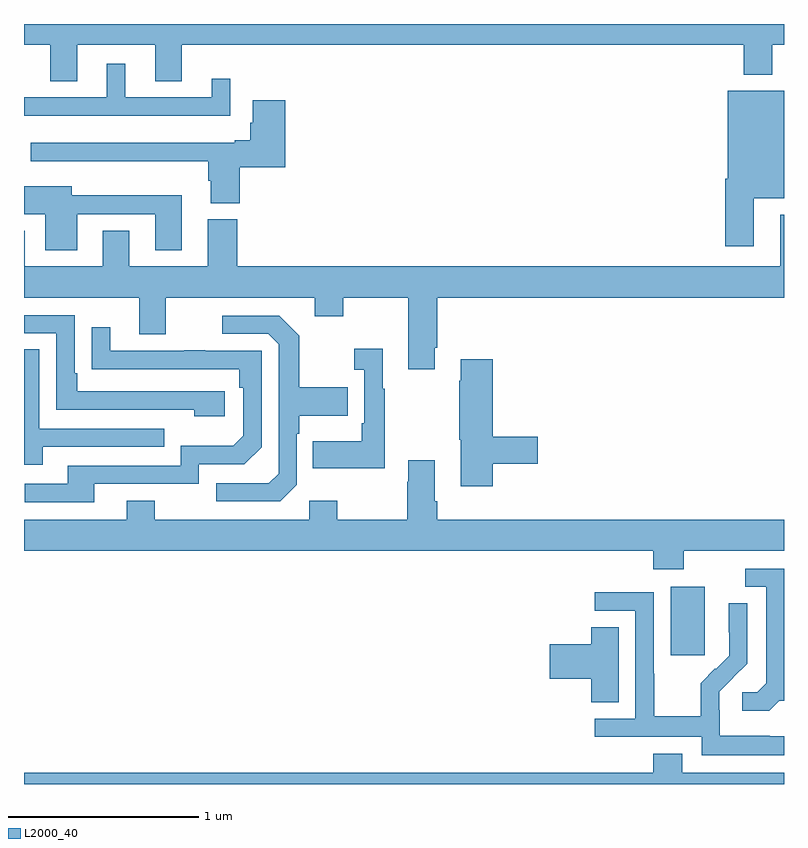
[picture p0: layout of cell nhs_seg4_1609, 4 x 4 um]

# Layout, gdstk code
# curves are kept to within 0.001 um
import gdstk
lib = gdstk.Library(unit=1e-6, precision=1e-09)
def R(c, l, rs):  # rectangles x0, y0, x1, y1
    for r in rs: c.add(gdstk.rectangle(r[:2], r[2:], *l))
def P(c, l, *ps):  # polygons
    for p in ps: c.add(gdstk.Polygon(p, *l))
L2000_40 = (2000, 40)

nhs_seg4_1609 = lib.new_cell('nhs_seg4_1609')
R(nhs_seg4_1609, L2000_40, [(196.403,821.577,196.582,821.938)])
P(nhs_seg4_1609, L2000_40, [(193.279,824.792),(193.691,824.792),(193.691,824.599),(193.831,824.599),(193.831,824.792),(196.787,824.792),(196.787,824.633),(196.939,824.633),(196.939,824.792),(197,824.792),(197,824.9),(193,824.9),(193,824.792),(193.139,824.792),(193.139,824.599),(193.279,824.599)],
  [(194.085,824.611),(193.988,824.611),(193.988,824.514),(193.534,824.514),(193.534,824.692),(193.436,824.692),(193.436,824.514),(193,824.514),(193,824.417),(194.085,824.417)],
  [(196.84,823.982),(197,823.982),(197,824.548),(196.703,824.548),(196.703,824.086),(196.691,824.086),(196.691,823.731),(196.84,823.731)],
  [(194.135,824.147),(194.375,824.147),(194.375,824.5),(194.204,824.5),(194.204,824.379),(194.192,824.379),(194.192,824.288),(194.108,824.288),(194.108,824.275),(193.035,824.275),(193.035,824.177),(193.97,824.177),(193.97,824.075),(193.982,824.075),(193.982,823.957),(194.135,823.957)],
  [(193.279,823.898),(193.691,823.898),(193.691,823.71),(193.831,823.71),(193.831,823.999),(193.252,823.999),(193.252,824.047),(193,824.047),(193,823.898),(193.112,823.898),(193.112,823.71),(193.279,823.71)],
  [(195.163,823.195),(195.176,823.195),(195.176,823.46),(197,823.46),(197,823.897),(196.979,823.897),(196.979,823.624),(194.123,823.624),(194.123,823.872),(193.967,823.872),(193.967,823.624),(193.555,823.624),(193.555,823.813),(193.415,823.813),(193.415,823.624),(193.003,823.624),(193.003,823.813),(193,823.813),(193,823.46),(193.607,823.46),(193.607,823.266),(193.747,823.266),(193.747,823.46),(194.531,823.46),(194.531,823.361),(194.679,823.361),(194.679,823.46),(195.023,823.46),(195.023,823.083),(195.163,823.083)],
  [(194.056,822.966),(193.279,822.966),(193.279,823.063),(193.266,823.063),(193.266,823.368),(193,823.368),(193,823.272),(193.17,823.272),(193.17,822.87),(193.895,822.87),(193.895,822.836),(194.056,822.836)],
  [(194.436,822.474),(194.436,822.743),(194.449,822.743),(194.449,822.839),(194.705,822.839),(194.705,822.987),(194.449,822.987),(194.449,823.259),(194.343,823.365),(194.043,823.365),(194.043,823.269),(194.286,823.269),(194.34,823.215),(194.34,822.534),(194.289,822.483),(194.013,822.483),(194.013,822.387),(194.349,822.387)],
  [(193.369,822.48),(193.92,822.48),(193.92,822.582),(194.16,822.582),(194.25,822.672),(194.25,823.179),(193.955,823.179),(193.955,823.184),(193.843,823.184),(193.843,823.179),(193.453,823.179),(193.453,823.303),(193.357,823.303),(193.357,823.084),(194.134,823.083),(194.134,822.986),(194.154,822.986),(194.154,822.732),(194.101,822.679),(193.824,822.679),(193.824,822.576),(193.229,822.576),(193.229,822.48),(193.005,822.48),(193.005,822.384),(193.369,822.384)],
  [(194.899,822.979),(194.887,822.979),(194.887,823.192),(194.739,823.192),(194.739,823.079),(194.79,823.079),(194.79,822.799),(194.778,822.799),(194.778,822.703),(194.521,822.703),(194.521,822.563),(194.899,822.563)],
  [(193.099,822.675),(193.739,822.675),(193.739,822.771),(193.08,822.771),(193.08,823.187),(193,823.187),(193,822.581),(193.099,822.581)],
  [(195.467,822.586),(195.703,822.586),(195.703,822.728),(195.467,822.728),(195.467,823.135),(195.299,823.135),(195.299,823.022),(195.292,823.022),(195.292,822.711),(195.299,822.711),(195.299,822.468),(195.467,822.468)],
  [(196.473,822.128),(197,822.128),(197,822.292),(195.176,822.292),(195.176,822.388),(195.163,822.388),(195.163,822.604),(195.023,822.604),(195.023,822.491),(195.016,822.491),(195.016,822.292),(194.649,822.292),(194.649,822.391),(194.502,822.391),(194.502,822.292),(193.689,822.292),(193.689,822.391),(193.541,822.391),(193.541,822.292),(193,822.292),(193,822.128),(196.313,822.128),(196.313,822.029),(196.473,822.029)],
  [(196.974,821.337),(197,821.337),(197,822.033),(196.797,822.033),(196.797,821.937),(196.907,821.937),(196.907,821.429),(196.86,821.382),(196.779,821.382),(196.779,821.285),(196.922,821.285)],
  [(197,821.151),(196.925,821.151),(196.925,821.155),(196.662,821.155),(196.662,821.289),(196.66,821.289),(196.66,821.386),(196.806,821.534),(196.806,821.852),(196.71,821.852),(196.71,821.698),(196.712,821.698),(196.712,821.576),(196.641,821.505),(196.638,821.508),(196.561,821.431),(196.561,821.257),(196.317,821.257),(196.317,821.48),(196.314,821.48),(196.314,821.91),(196.005,821.91),(196.005,821.811),(196.218,821.811),(196.218,821.244),(196.005,821.244),(196.005,821.148),(196.566,821.148),(196.566,821.051),(197,821.051)],
  [(196.129,821.726),(195.986,821.726),(195.986,821.636),(195.768,821.636),(195.768,821.453),(195.986,821.453),(195.986,821.329),(196.129,821.329)],
  [(197,820.96),(196.465,820.96),(196.465,821.059),(196.313,821.059),(196.313,820.96),(193,820.96),(193,820.9),(197,820.9)])

lib.write_gds('nhs_seg4_1609.gds')
